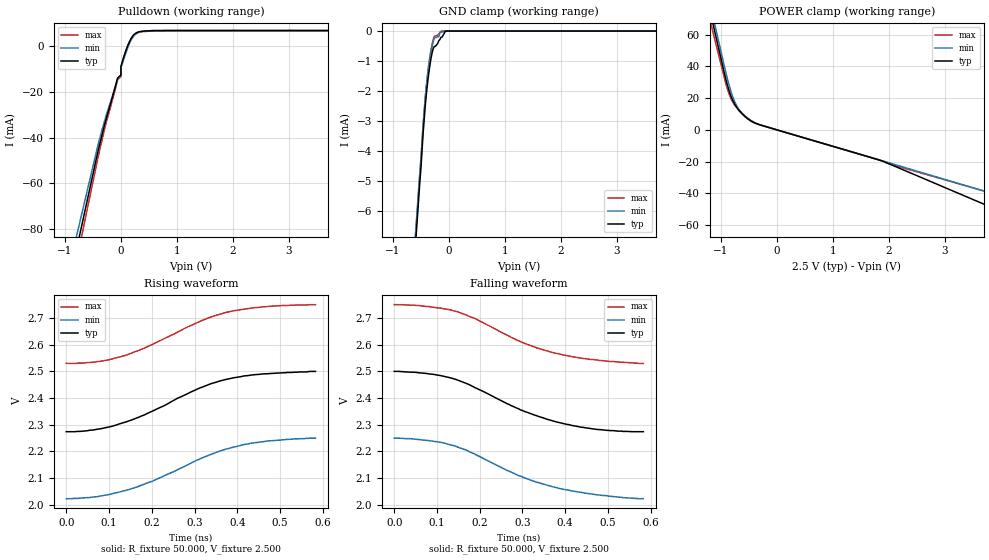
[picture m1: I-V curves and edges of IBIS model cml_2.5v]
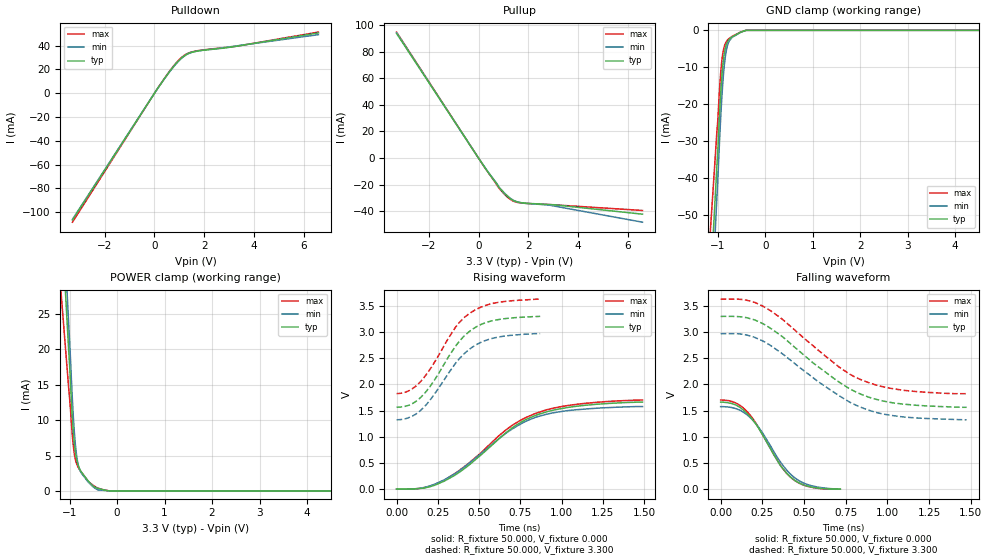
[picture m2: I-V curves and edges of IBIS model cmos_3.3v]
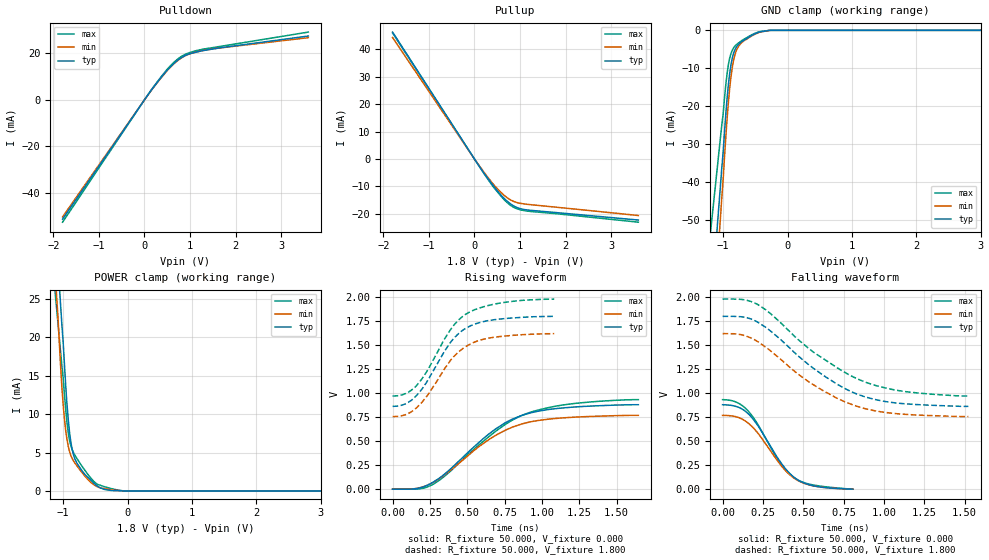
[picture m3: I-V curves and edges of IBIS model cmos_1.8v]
[IBIS Ver]  4.0
[File Name] si5338a-bxxxxx-gm.ibs
[File Rev]  3.8
[Source]  Measurement-based IBIS Models created by
   Teraspeed Consulting Group LLC
   Teraspeed Modeling Services
   http://www.teraspeed.com
[Date]   02/24/2014
[Notes]   Quality Check of this IBIS model: Model Passes IBIS Check
   Model parses into ICX IS. Simulation done with Hyperlynx.
   1. MIN TYP MAX information is based on Temperature and
   Voltage characteristics only.
   2. Package data gained using Tektronix IConnect Software.
   3. 090412 added CML buffers
   4. updated Vinh, Vinl of input buffers
[Disclaimer]
Silicon Labs Incorporated hereby grants the user of this IBIS
model a personal, non-exclusive, non-transferable license to use
this IBIS model under the following terms. Before using this
IBIS model, the user should read and agree with this license. If
the user does not accept these terms, the user should not use
the IBIS model and the IBIS model should be promptly returned to
Silicon Labs within 30 days. The user is granted this license
only to use the IBIS model and is not granted rights to sell,
load, rent, lease or license the IBIS model in whole or in part,
or in modified form to anyone. User may modify the IBIS model to
suit its specific applications, rights to derivative works and
such modifications shall belong and are hereby assigned to
Silicon Labs. This IBIS model is provided on an "as is" basis
and Silicon Labs makes absolutely no warranty with respect to
the IBIS model and the information contained herein. Silicon
Labs disclaims and customer waives all warranties, express or
implied, including warranties to merchantability or fitness for
a particular purpose. The entire risk as to quality and
performance is with the customer. Accordingly, in no event shall
the company be liable for any damages, whether in contract or
tort, including any lost profits or other incidental,
consequential, exemplary, or punitive damages arising out of the
use or application of the IBIS model provided in this package.
Further, Silicon Labs reserves the right to make changes without
notice to any product herein to improve reliability, function,
or design. Silicon Laboratories does not convey any license
under patent rights or any other intellectual property rights,
including those of third parties. Silicon Labs is not obligated
to provide maintenance or support for the licensed IBIS model.
[Copyright]  (c) 2011, Silicon Labs, Inc.
[Component]   SI5338A-Bxxxxx-GM
[Manufacturer] Silicon Labs
[Package]
| variable   typ   min   max
R_pkg  1.000E-02   1.000E-02   1.000E-02
L_pkg  2.050E-09   1.980E-09   2.140E-09
C_pkg  5.623E-13   5.520E-13   5.980E-13
[Pin] signal_name  model_name  R_pin  L_pin C_pin
1   CLKIN   in1   1.000E-02 1.980E-09 5.980E-13
2   CLKINB   in1   1.000E-02 2.030E-09 5.370E-13
3   CLKIN   in   1.000E-02 2.140E-09 5.520E-13
4   I2C_LSB   in   1.000E-02 2.140E-09 5.520E-13
5   FDBK   in1   1.000E-02 2.030E-09 5.370E-13
6   FDBKB   in1   1.000E-02 1.980E-09 5.980E-13
7   VDD   POWER  1.000E-02 1.980E-09 5.980E-13
8   INTR   od   1.000E-02 2.030E-09 5.370E-13
9   CLK3B   clk3   1.000E-02 2.140E-09 5.520E-13
10  CLK3A   clk3   1.000E-02 2.140E-09 5.520E-13
11  VDDO3   POWER  1.000E-02 2.030E-09 5.370E-13
12  SCL   scl   1.000E-02 1.980E-09 5.980E-13
13  CLK2B   clk2   1.000E-02 1.980E-09 5.980E-13
14  CLK2A   clk2   1.000E-02 2.030E-09 5.370E-13
15  VDDO2   POWER  1.000E-02 2.140E-09 5.520E-13
16  VDDO1   POWER  1.000E-02 2.140E-09 5.520E-13
17  CLK1B   clk1   1.000E-02 2.030E-09 5.370E-13
18  CLK1A   clk1   1.000E-02 1.980E-09 5.980E-13
19  SDA   io_od  1.000E-02 1.980E-09 5.980E-13
20  VDDO0   POWER  1.000E-02 2.030E-09 5.370E-13
21  CLK0B   clk0   1.000E-02 2.140E-09 5.520E-13
22  CLK0A   clk0   1.000E-02 2.140E-09 5.520E-13
23  GND   GND   1.000E-02 2.030E-09 5.370E-13
24  VDD   POWER  1.000E-02 1.980E-09 5.980E-13
25  EPAD   GND   0.000E+00 0.000E+00 0.000E+00
[Diff Pin] inv_pin vdiff tdelay_typ tdelay_min tdelay_max
1   2   0.400V NA   NA   NA
5   6   0.400V NA   NA   NA
|These output pairs to be selectively commented out for cmos, sstl, & hstl modes
10   9   NA   NA   NA   NA
14   13   NA   NA   NA   NA
18   17   NA   NA   NA   NA
22   21   NA   NA   NA   NA
[Model selector] clk0
cml_1.8v   3.3v cml clkout
cml_2.5v   2.5v cml clkout
cml_3.3v   1.8v cml clkout
cmos_3.3v   3.3v cmos clkout
cmos_2.5v   2.5v cmos clkout
cmos_1.8v   1.8v cmos clkout
hcsl_3.3v   3.3v hcsl clkout
hcsl_2.5v   2.5v hcsl clkout
hcsl_1.8v   1.8v hcsl clkout
hstl_1.5v   1.5v hstl clkout
lvds_3.3v   3.3v lvds clkout
lvds_2.5v   2.5v lvds clkout
lvds_1.8v   1.8v lvds clkout
lvpecl_3.3v  3.3v lvpecl clkout
lvpecl_2.5v  2.5v lvpecl clkout
sstl_3.3v   3.3v sstl clkout
sstl_2.5v   2.5v sstl clkout
sstl_1.8v   1.8v sstl clkout
[Model selector] clk1
cml_1.8v   3.3v cml clkout
cml_2.5v   2.5v cml clkout
cml_3.3v   1.8v cml clkout
cmos_3.3v   3.3v cmos clkout
cmos_2.5v   2.5v cmos clkout
cmos_1.8v   1.8v cmos clkout
hcsl_3.3v   3.3v hcsl clkout
hcsl_2.5v   2.5v hcsl clkout
hcsl_1.8v   1.8v hcsl clkout
hstl_1.5v   1.5v hstl clkout
lvds_3.3v   3.3v lvds clkout
lvds_2.5v   2.5v lvds clkout
lvds_1.8v   1.8v lvds clkout
lvpecl_3.3v  3.3v lvpecl clkout
lvpecl_2.5v  2.5v lvpecl clkout
sstl_3.3v   3.3v sstl clkout
sstl_2.5v   2.5v sstl clkout
sstl_1.8v   1.8v sstl clkout
[Model selector] clk2
cml_1.8v   3.3v cml clkout
cml_2.5v   2.5v cml clkout
cml_3.3v   1.8v cml clkout
cmos_3.3v   3.3v cmos clkout
cmos_2.5v   2.5v cmos clkout
cmos_1.8v   1.8v cmos clkout
hcsl_3.3v   3.3v hcsl clkout
hcsl_2.5v   2.5v hcsl clkout
hcsl_1.8v   1.8v hcsl clkout
hstl_1.5v   1.5v hstl clkout
lvds_3.3v   3.3v lvds clkout
lvds_2.5v   2.5v lvds clkout
lvds_1.8v   1.8v lvds clkout
lvpecl_3.3v  3.3v lvpecl clkout
lvpecl_2.5v  2.5v lvpecl clkout
sstl_3.3v   3.3v sstl clkout
sstl_2.5v   2.5v sstl clkout
sstl_1.8v   1.8v sstl clkout
[Model selector] clk3
cml_1.8v   3.3v cml clkout
cml_2.5v   2.5v cml clkout
cml_3.3v   1.8v cml clkout
cmos_3.3v   3.3v cmos clkout
cmos_2.5v   2.5v cmos clkout
cmos_1.8v   1.8v cmos clkout
hcsl_3.3v   3.3v hcsl clkout
hcsl_2.5v   2.5v hcsl clkout
hcsl_1.8v   1.8v hcsl clkout
hstl_1.5v   1.5v hstl clkout
lvds_3.3v   3.3v lvds clkout
lvds_2.5v   2.5v lvds clkout
lvds_1.8v   1.8v lvds clkout
lvpecl_3.3v  3.3v lvpecl clkout
lvpecl_2.5v  2.5v lvpecl clkout
sstl_3.3v   3.3v sstl clkout
sstl_2.5v   2.5v sstl clkout
sstl_1.8v   1.8v sstl clkout
[Model selector] in1
xtal1_1.8v   1.8V core supply clock mode
xtal1_2.5v   2.5V core supply clock mode
xtal1_3.3v   3.3V core supply clock mode
[Model selector] in
in_1.8v   1.8V core supply
in_2.5v   2.5V core supply
in_3.3v   3.3V core supply
[Model selector] scl
scl_1.8v   1.8V core supply
scl_2.5v   2.5V core supply
scl_3.3v   3.3V core supply
[Model selector] od
od_1.8v   1.8V core supply
od_2.5v   2.5V core supply
od_3.3v   3.3V core supply
[Model selector] io_od
io_od_1.8v   1.8V core supply
io_od_2.5v   2.5V core supply
io_od_3.3v   3.3V core supply
| Models and submodels in the file (33): cml_1.8v (Open_drain), cml_2.5v (Open_drain), cml_3.3v (Open_drain), cmos_3.3v (3-state), cmos_2.5v (3-state), cmos_1.8v (3-state), hcsl_3.3v (3-state), hcsl_2.5v (3-state), hcsl_1.8v (3-state), lvds_3.3v (3-state), lvds_2.5v (3-state), lvds_1.8v (3-state), lvpecl_3.3v (3-state_ECL), lvpecl_2.5v (3-state_ECL), sstl_3.3v (3-state), sstl_2.5v (3-state), sstl_1.8v (3-state), hstl_1.5v (3-state), in_1.8v (Input), in_2.5v (Input), in_3.3v (Input), scl_1.8v (Input), scl_2.5v (Input), scl_3.3v (Input), xtal1_3.3v (Input), xtal1_2.5v (Input), xtal1_1.8v (Input), io_od_3.3v (I/O_open_drain), io_od_2.5v (I/O_open_drain), io_od_1.8v (I/O_open_drain), od_3.3v (Open_drain), od_2.5v (Open_drain), od_1.8v (Open_drain)
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[Model]   cml_2.5v
Model_type Open_drain
|Vref=2.500E+00
Rref=5.000E+01
Cref=0.000E+00
Vmeas=2.40E+00
C_comp   0.856E-12   0.839E-12   0.973E-12
[Model Spec]
Vref   2.5   2.25  2.75
Vmeas   2.4   2.15  2.65
[Voltage Range]   2.500E+00   2.250E+00   2.750E+00
[POWER Clamp Reference]   2.500E+00   2.250E+00   2.750E+00
[GND Clamp Reference]   0.000E+00   0.000E+00   0.000E+00
[Pullup Reference]   2.500E+00   2.250E+00   2.750E+00
[Pulldown Reference]   0.000E+00   0.000E+00   0.000E+00
[Temperature Range]   25   85   -40
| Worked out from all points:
|   slope of the pulldown table from 0 to 0.375 V, typ, clamps not added: 19.6 ohm
|   GND clamp passes 1 mA (typ) near -0.33 V on its own axis
|   rising waveform, R_fixture 50.000, V_fixture 2.500: 20-80 % time 186ps typ, 197ps min, 181ps max; typ from 2.27 V to 2.5 V
|   falling waveform, R_fixture 50.000, V_fixture 2.500: 20-80 % time 192ps typ, 200ps min, 188ps max; typ from 2.5 V to 2.27 V
[GND Clamp]
-2.52V    -58.73mA   -57.18mA   -58.15mA
-520mV    -5.065mA   -4.739mA   -4.824mA
-460mV    -3.397mA   -3.11mA    -3.173mA
-420mV    -2.441mA   -2.173mA   -2.206mA
-380mV    -1.722mA   -1.459mA   -1.434mA
-340mV    -1.151mA   -910uA     -856.8uA
-300mV    -729.9uA   -515.7uA   -443.9uA
-260mV    -513.5uA   -243.7uA   -171uA
-180mV    -320.7uA   -189.9uA   -91.48uA
-140mV    -208.6uA   -38.56uA   -8.253uA
-60mV     0A         0A         0A
5V        0A         0A         0A
[Power Clamp]
-2.5V     274.6mA    279.4mA    254mA
-1.02V    48.32mA    52.74mA    44.51mA
-920mV    33.14mA    37.45mA    30.39mA
-860mV    25.45mA    29.14mA    23.28mA
-800mV    19.53mA    22.19mA    18.32mA
-740mV    15.45mA    16.78mA    14.94mA
-680mV    12.51mA    13.05mA    12.3mA
-620mV    10.18mA    10.51mA    9.999mA
-500mV    6.523mA    6.834mA    6.429mA
-380mV    4.155mA    4.268mA    4.065mA
1.9V      -19.77mA   -19.67mA   -19.77mA
5V        -66.23mA   -52.14mA   -51.62mA
[Pulldown]
-2.52V    -282.4mA   -262.5mA   -297.8mA
-520mV    -58.23mA   -54.64mA   -61.63mA
-400mV    -44.99mA   -42.37mA   -47.62mA
-260mV    -31.51mA   -29.94mA   -33.2mA
-60mV     -13.94mA   -14.15mA   -14.74mA
0V        -12.58mA   -12.96mA   -13.27mA
0V        -8.822mA   -9.483mA   -9.251mA
40mV      -5.562mA   -6.433mA   -5.817mA
160mV     2.318mA    1.667mA    2.312mA
280mV     5.926mA    5.602mA    5.683mA
580mV     6.826mA    6.835mA    6.633mA
5.02V     6.872mA    6.895mA    6.686mA
[Rising Waveform]
R_fixture = 50.000
V_fixture = 2.500
V_fixture_min = 2.250
V_fixture_max = 2.750
|  time   V(typ)   V(min)   V(max)
0s        2.274V     2.023V     2.53V
62ps      2.28V      2.029V     2.534V
101ps     2.292V     2.039V     2.544V
137ps     2.309V     2.053V     2.559V
199ps     2.349V     2.087V     2.599V
314ps     2.439V     2.173V     2.688V
374ps     2.47V      2.209V     2.721V
416ps     2.483V     2.226V     2.733V
470ps     2.491V     2.239V     2.743V
583ps     2.5V       2.25V      2.75V
[Falling Waveform]
R_fixture = 50.000
V_fixture = 2.500
V_fixture_min = 2.250
V_fixture_max = 2.750
|  time   V(typ)   V(min)   V(max)
0s        2.5V       2.25V      2.75V
56ps      2.495V     2.245V     2.747V
102ps     2.486V     2.236V     2.738V
149ps     2.467V     2.216V     2.723V
192ps     2.437V     2.187V     2.696V
292ps     2.359V     2.109V     2.614V
335ps     2.333V     2.084V     2.587V
381ps     2.31V      2.064V     2.567V
477ps     2.282V     2.037V     2.542V
583ps     2.274V     2.023V     2.53V
[Ramp]
dV/dt_f   0.136/1.9319E-10   0.136/2.0175E-10   0.132/1.8666E-10
dV/dt_r   0.136/1.8600E-10   0.136/1.9670E-10   0.132/1.8200E-10
R_load = 50
[Model]   cmos_3.3v
Model_type 3-state
Vref=0.000E+00
Rref=1.000E+06
Cref=2.000E-12
Vmeas=1.650E+00
C_comp   1.110E-12   1.100E-12   1.120E-12
[Voltage Range]   3.300E+00   2.970E+00   3.630E+00
[POWER Clamp Reference]   3.300E+00   2.970E+00   3.630E+00
[GND Clamp Reference]   0.000E+00   0.000E+00   0.000E+00
[Pullup Reference]   3.300E+00   2.970E+00   3.630E+00
[Pulldown Reference]   0.000E+00   0.000E+00   0.000E+00
[Temperature Range]   25   85   -40
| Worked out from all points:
|   slope of the pulldown table from 0 to 0.495 V, typ, clamps not added: 33.1 ohm
|   slope of the pullup table from 0 to 0.495 V, typ, clamps not added: 37 ohm
|   GND clamp passes 1 mA (typ) near -0.59 V on its own axis
|   POWER clamp passes 1 mA (typ) near -0.55 V on its own axis
|   rising waveform, R_fixture 50.000, V_fixture 0.000: 20-80 % time 400ps typ, 399ps min, 408ps max; typ from 0 V to 1.66 V
|   falling waveform, R_fixture 50.000, V_fixture 0.000: 20-80 % time 198ps typ, 202ps min, 197ps max; typ from 1.66 V to 0 V
|   rising waveform, R_fixture 50.000, V_fixture 3.300: 20-80 % time 229ps typ, 239ps min, 228ps max; typ from 1.56 V to 3.3 V
|   falling waveform, R_fixture 50.000, V_fixture 3.300: 20-80 % time 424ps typ, 433ps min, 420ps max; typ from 3.3 V to 1.56 V
[GND Clamp]
-3.3V     -584.8mA   -652.4mA   -471.8mA
-1.02V    -36.73mA   -45.26mA   -27.54mA
-1V       -32.45mA   -40.33mA   -24.29mA
-960mV    -21.73mA   -28.87mA   -15.16mA
-920mV    -13.28mA   -19.08mA   -8.748mA
-880mV    -7.732mA   -11.73mA   -5.19mA
-840mV    -4.687mA   -6.948mA   -3.529mA
-800mV    -3.212mA   -4.253mA   -2.696mA
-760mV    -2.458mA   -2.879mA   -2.189mA
-520mV    -517.2uA   -550.6uA   -450.8uA
-400mV    0A         0A         0A
6.6V      0A         0A         0A
[Power Clamp]
-3.3V     296mA      329mA      206.1mA
-1.02V    19.84mA    23.53mA    14.52mA
-1V       17.68mA    21.04mA    13.03mA
-960mV    12.28mA    15.32mA    9.298mA
-920mV    8.047mA    10.2mA     6.181mA
-880mV    5.497mA    6.608mA    4.465mA
-840mV    4.101mA    4.391mA    3.632mA
-800mV    3.251mA    3.202mA    3.092mA
-740mV    2.546mA    2.406mA    2.531mA
-400mV    358.5uA    135.6uA    381.7uA
-160mV    0A         0A         0A
6.6V      0A         0A         0A
[Pullup]
-3.3V     93.68mA    94.23mA    94.67mA
20mV      -532.9uA   -561.8uA   -582.4uA
800mV     -21.37mA   -21.01mA   -21.96mA
1.04V     -26.45mA   -26.16mA   -27.15mA
1.28V     -30.45mA   -30.19mA   -31.02mA
1.52V     -32.73mA   -32.64mA   -33.08mA
1.8V      -33.7mA    -33.8mA    -33.85mA
2.82V     -34.84mA   -35.24mA   -34.9mA
6.6V      -42.11mA   -48.14mA   -39.34mA
[Pulldown]
-3.3V     -106.5mA   -106.1mA   -108.4mA
120mV     3.793mA    3.759mA    3.873mA
740mV     21.71mA    21.48mA    22.16mA
1.12V     30.08mA    29.96mA    30.63mA
1.4V      33.68mA    33.67mA    34.06mA
1.8V      35.69mA    35.85mA    36.05mA
3.34V     39.7mA     39.95mA    39.69mA
6.6V      50.75mA    49.3mA     51.46mA
[Rising Waveform]
R_fixture = 50.000
V_fixture = 0.000
V_fixture_min = 0.000
V_fixture_max = 0.000
|  time   V(typ)   V(min)   V(max)
0s        0V         0V         0V
165ps     21.69mV    30.74mV    26.42mV
295ps     163.5mV    187.1mV    183.6mV
422.5ps   419.2mV    450.9mV    458.9mV
677.5ps   1.114V     1.101V     1.166V
760ps     1.289V     1.258V     1.33V
847.5ps   1.415V     1.377V     1.453V
947.5ps   1.507V     1.457V     1.545V
1.092ns   1.584V     1.517V     1.62V
1.49ns    1.663V     1.577V     1.703V
[Falling Waveform]
R_fixture = 50.000
V_fixture = 0.000
V_fixture_min = 0.000
V_fixture_max = 0.000
|  time   V(typ)   V(min)   V(max)
0s        1.663V     1.577V     1.703V
95ps      1.601V     1.534V     1.639V
132.5ps   1.522V     1.478V     1.561V
177.5ps   1.383V     1.367V     1.413V
250ps     1.045V     1.08V      1.051V
360ps     444.3mV    512.8mV    451.1mV
397.5ps   300.7mV    359.9mV    296mV
437.5ps   184.1mV    234.5mV    180.1mV
540ps     43.9mV     70.16mV    39.73mV
717.5ps   0V         0V         0V
[Rising Waveform]
R_fixture = 50.000
V_fixture = 3.300
V_fixture_min = 2.970
V_fixture_max = 3.630
|  time   V(typ)   V(min)   V(max)
0s        1.564V     1.324V     1.824V
77.5ps    1.606V     1.37V      1.884V
150ps     1.763V     1.517V     2.069V
232.5ps   2.096V     1.828V     2.437V
357.5ps   2.731V     2.405V     3.093V
402.5ps   2.901V     2.563V     3.255V
442.5ps   3.015V     2.674V     3.357V
505ps     3.136V     2.794V     3.466V
592.5ps   3.224V     2.889V     3.553V
870ps     3.3V       2.97V      3.63V
[Falling Waveform]
R_fixture = 50.000
V_fixture = 3.300
V_fixture_min = 2.970
V_fixture_max = 3.630
|  time   V(typ)   V(min)   V(max)
0s        3.3V       2.97V      3.63V
145ps     3.281V     2.951V     3.616V
260ps     3.148V     2.818V     3.483V
355ps     2.949V     2.621V     3.283V
547.5ps   2.428V     2.146V     2.758V
710ps     2.045V     1.786V     2.334V
855ps     1.796V     1.547V     2.073V
957.5ps   1.696V     1.446V     1.968V
1.103ns   1.622V     1.378V     1.886V
1.475ns   1.564V     1.324V     1.824V
[Ramp]
dV/dt_r   9.8467E-01/3.9967E-10   9.3534E-01/3.9871E-10   1.0051E+00/4.0783E-10
dV/dt_f   1.0199E+00/4.2424E-10   9.7239E-01/4.3318E-10   1.0603E+00/4.1967E-10
R_load = 50
[Model]   cmos_1.8v
Model_type 3-state
Vref=0.000E+00
Rref=1.000E+06
Cref=2.000E-12
Vmeas=9.000E-01
C_comp   1.110E-12   1.100E-12   1.120E-12
[Voltage Range]   1.800E+00   1.620E+00   1.980E+00
[POWER Clamp Reference]   1.800E+00   1.620E+00   1.980E+00
[GND Clamp Reference]   0.000E+00   0.000E+00   0.000E+00
[Pullup Reference]   1.800E+00   1.620E+00   1.980E+00
[Pulldown Reference]   0.000E+00   0.000E+00   0.000E+00
[Temperature Range]   25   85   -40
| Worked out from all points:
|   slope of the pulldown table from 0 to 0.27 V, typ, clamps not added: 37.3 ohm
|   slope of the pullup table from 0 to 0.27 V, typ, clamps not added: 41.4 ohm
|   GND clamp passes 1 mA (typ) near -0.52 V on its own axis
|   POWER clamp passes 1 mA (typ) near -0.52 V on its own axis
|   rising waveform, R_fixture 50.000, V_fixture 0.000: 20-80 % time 406ps typ, 405ps min, 449ps max; typ from 0 V to 0.879 V
|   falling waveform, R_fixture 50.000, V_fixture 0.000: 20-80 % time 208ps typ, 211ps min, 207ps max; typ from 0.879 V to 0 V
|   rising waveform, R_fixture 50.000, V_fixture 1.800: 20-80 % time 236ps typ, 247ps min, 247ps max; typ from 0.862 V to 1.8 V
|   falling waveform, R_fixture 50.000, V_fixture 1.800: 20-80 % time 434ps typ, 440ps min, 475ps max; typ from 1.8 V to 0.862 V
[GND Clamp]
-1.8V     -208.3mA   -239.6mA   -150.7mA
-1.02V    -36.11mA   -43.92mA   -24.78mA
-1V       -32.14mA   -39.3mA    -22.08mA
-960mV    -22.38mA   -28.45mA   -14.53mA
-920mV    -14.53mA   -19.28mA   -9.192mA
-880mV    -9.225mA   -12.48mA   -6.199mA
-840mV    -6.166mA   -8.075mA   -4.695mA
-800mV    -4.55mA    -5.546mA   -3.872mA
-740mV    -3.351mA   -3.731mA   -3.072mA
-560mV    -1.392mA   -1.53mA    -1.212mA
-260mV    0A         0A         0A
3.6V      0A         0A         0A
[Power Clamp]
-1.8V     121.7mA    124.5mA    87.39mA
-1.1V     31.95mA    25.13mA    23.61mA
-1.06V    26.82mA    19.37mA    19.96mA
-1.04V    24.25mA    16.31mA    18.14mA
-980mV    16.48mA    9.363mA    12.6mA
-920mV    9.198mA    5.784mA    7.499mA
-860mV    5.404mA    4.223mA    5.378mA
-820mV    4.207mA    3.647mA    4.675mA
-720mV    2.771mA    2.53mA     3.371mA
-480mV    708.2uA    584.9uA    933.3uA
-60mV     0A         0A         0A
3.6V      0A         0A         0A
[Pullup]
-1.8V     46.26mA    44.28mA    45.95mA
60mV      -1.518mA   -1.436mA   -1.524mA
320mV     -7.64mA    -7.249mA   -7.986mA
480mV     -11.11mA   -10.45mA   -11.48mA
640mV     -14.14mA   -13.06mA   -14.59mA
780mV     -16.18mA   -14.78mA   -16.73mA
940mV     -17.72mA   -15.9mA    -18.16mA
1.14V     -18.52mA   -16.47mA   -18.92mA
3.6V      -22.23mA   -20.59mA   -23.02mA
[Pulldown]
-1.8V     -51.42mA   -50.45mA   -52.74mA
160mV     4.436mA    4.353mA    4.56mA
500mV     12.8mA     12.6mA     13.18mA
740mV     17.24mA    17.05mA    17.72mA
880mV     18.95mA    18.84mA    19.45mA
1V        19.89mA    19.84mA    20.41mA
1.48V     21.84mA    21.91mA    22.44mA
3.6V      27.49mA    26.78mA    29.19mA
[Rising Waveform]
R_fixture = 50.000
V_fixture = 0.000
V_fixture_min = 0.000
V_fixture_max = 0.000
|  time   V(typ)   V(min)   V(max)
0s        0V         0V         0V
165ps     7.725mV    9.451mV    1.298mV
275ps     76.13mV    73.53mV    53.57mV
357.5ps   169.1mV    160.7mV    146.8mV
650ps     580.9mV    522mV      553.9mV
762.5ps   698.6mV    619.3mV    682.4mV
865ps     767.7mV    679mV      767.8mV
982.5ps   814.4mV    716.9mV    827.1mV
1.185ns   851.8mV    747mV      886.5mV
1.645ns   879.4mV    768.9mV    932.5mV
[Falling Waveform]
R_fixture = 50.000
V_fixture = 0.000
V_fixture_min = 0.000
V_fixture_max = 0.000
|  time   V(typ)   V(min)   V(max)
0s        879.4mV    768.9mV    932.5mV
92.5ps    856.5mV    749.8mV    900.6mV
165ps     776.1mV    679.6mV    802.2mV
230ps     633.5mV    560mV      642.5mV
352.5ps   297.5mV    268.6mV    283.1mV
397.5ps   197.5mV    180.4mV    187.2mV
445ps     121mV      112.3mV    117.7mV
495ps     71.37mV    67.4mV     74.22mV
570ps     32.6mV     31.96mV    41.5mV
807.5ps   0V         0V         0V
[Rising Waveform]
R_fixture = 50.000
V_fixture = 1.800
V_fixture_min = 1.620
V_fixture_max = 1.980
|  time   V(typ)   V(min)   V(max)
0s        862.2mV    756mV      970.1mV
87.5ps    889.4mV    776.3mV    996mV
162.5ps   978.7mV    850.4mV    1.082V
237.5ps   1.138V     984.7mV    1.247V
385ps     1.523V     1.335V     1.655V
440ps     1.618V     1.426V     1.759V
497.5ps   1.682V     1.492V     1.829V
587.5ps   1.737V     1.553V     1.889V
722.5ps   1.772V     1.59V      1.939V
1.082ns   1.8V       1.62V      1.98V
[Falling Waveform]
R_fixture = 50.000
V_fixture = 1.800
V_fixture_min = 1.620
V_fixture_max = 1.980
|  time   V(typ)   V(min)   V(max)
0s        1.8V       1.62V      1.98V
112.5ps   1.796V     1.61V      1.977V
215ps     1.742V     1.54V      1.926V
312.5ps   1.626V     1.42V      1.806V
537.5ps   1.291V     1.114V     1.461V
702.5ps   1.101V     953.2mV    1.273V
840ps     986.3mV    859.4mV    1.146V
947.5ps   933.1mV    815.3mV    1.08V
1.077ns   897.5mV    786.2mV    1.03V
1.523ns   862.2mV    756mV      970.1mV
[Ramp]
dV/dt_r   5.2321E-01/4.0559E-10   4.6144E-01/4.0506E-10   5.3922E-01/4.4803E-10
dV/dt_f   5.5532E-01/4.3389E-10   5.1207E-01/4.4035E-10   5.9057E-01/4.7577E-10
R_load = 50
